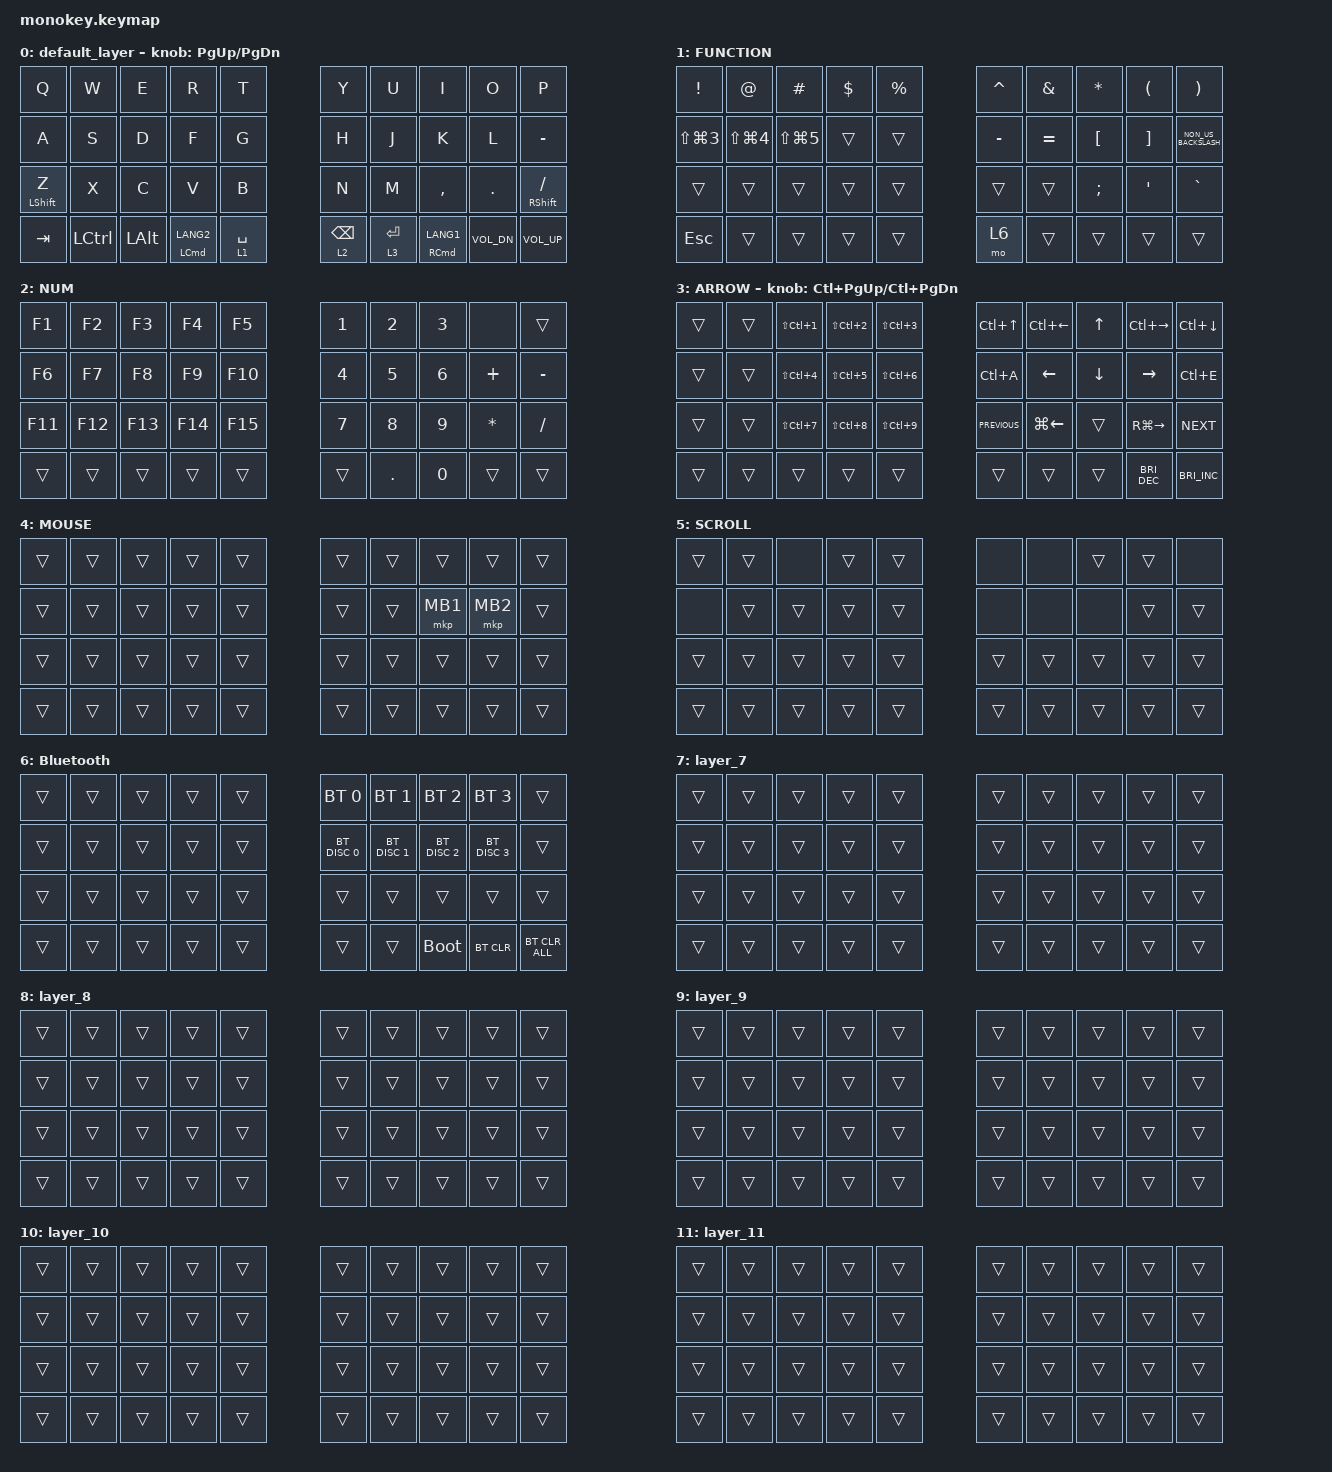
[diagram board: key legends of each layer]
#include <behaviors.dtsi>
#include <dt-bindings/zmk/bt.h>
#include <dt-bindings/zmk/keys.h>
#include <dt-bindings/zmk/pointing.h>

#include <input/processors.dtsi>
#include <input/processors/runtime-input-processor.dtsi>

#define MOUSE 4
#define SCROLL 5
#define NUM 6

&mt {
    flavor = "balanced";
    quick-tap-ms = <300>;
};

&lt { quick-tap-ms = <300>; };

/ {
    combos {
        compatible = "zmk,combos";

        scroll {
            bindings = <&mo 5>;
            key-positions = <17 18>;
        };

        mb3 {
            bindings = <&mkp MB3>;
            key-positions = <19 18>;
        };
    };

    behaviors {
        right_click: right_click_behavior {
            compatible = "zmk,behavior-mouse-key";
            label = "RIGHT_CLICK";
            #binding-cells = <0>;

            // 右クリックは通常 MB2 に対応（ZMKの標準定義）

            bindings = <&mkp MB2>;
        };
    };

    keymap {
        compatible = "zmk,keymap";

        default_layer {
            bindings = <
&kp Q             &kp W      &kp E         &kp R                   &kp T                           &kp Y        &kp U                    &kp I      &kp O         &kp P
&kp A             &kp S      &kp D         &kp F                   &kp G                           &kp H        &kp J                    &kp K      &kp L         &kp MINUS
&mt LEFT_SHIFT Z  &kp X      &kp C         &kp V                   &kp B                           &kp N        &kp M                    &kp COMMA  &kp PERIOD    &mt RIGHT_SHIFT SLASH
&kp TAB           &kp LCTRL  &kp LEFT_ALT  &mt LEFT_COMMAND LANG2  &lt 1 SPACE  &lt 2 BACKSPACE    &lt 3 ENTER  &mt RIGHT_COMMAND LANG1             &kp C_VOL_DN  &kp C_VOLUME_UP
            >;

            sensor-bindings = <&inc_dec_kp PG_UP PAGE_DOWN>;
        };

        FUNCTION {
            bindings = <
&kp EXCLAMATION       &kp AT_SIGN           &kp HASH        &kp DOLLAR  &kp PERCENT           &kp CARET  &kp AMPERSAND  &kp ASTERISK      &kp LEFT_PARENTHESIS  &kp RIGHT_PARENTHESIS
&kp LS(LG(NUMBER_3))  &kp LS(LG(NUMBER_4))  &kp LS(LG(N5))  &trans      &trans                &kp MINUS  &kp EQUAL      &kp LEFT_BRACKET  &kp RIGHT_BRACKET     &kp NON_US_BACKSLASH
&trans                &trans                &trans          &trans      &trans                &trans     &trans         &kp SEMICOLON     &kp SINGLE_QUOTE      &kp GRAVE
&kp ESCAPE            &trans                &trans          &trans      &trans       &mo 6    &trans     &trans                           &trans                &trans
            >;
        };

        NUM {
            bindings = <
&kp F1   &kp F2   &kp F3   &kp F4   &kp F5             &kp NUMBER_1  &kp NUMBER_2  &kp NUMBER_3  &none         &trans
&kp F6   &kp F7   &kp F8   &kp F9   &kp F10            &kp NUMBER_4  &kp N5        &kp NUMBER_6  &kp PLUS      &kp MINUS
&kp F11  &kp F12  &kp F13  &kp F14  &kp F15            &kp N7        &kp N8        &kp N9        &kp ASTERISK  &kp SLASH
&trans   &trans   &trans   &trans   &trans   &trans    &kp PERIOD    &kp N0                      &trans        &trans
            >;
        };

        ARROW {
            bindings = <
&trans  &trans  &kp LS(LC(NUMBER_1))  &kp LS(LC(NUMBER_2))  &kp LS(LC(NUMBER_3))            &kp LC(UP_ARROW)  &kp LC(LEFT_ARROW)  &kp UP_ARROW    &kp LC(RIGHT)    &kp LC(DOWN_ARROW)
&trans  &trans  &kp LS(LC(NUMBER_4))  &kp LS(LC(N5))        &kp LS(LC(NUMBER_6))            &kp LC(A)         &kp LEFT_ARROW      &kp DOWN_ARROW  &kp RIGHT_ARROW  &kp LC(E)
&trans  &trans  &kp LS(LC(N7))        &kp LS(LC(N8))        &kp LS(LC(N9))                  &kp C_PREVIOUS    &kp LG(LEFT)        &trans          &kp RG(RIGHT)    &kp C_NEXT
&trans  &trans  &trans                &trans                &trans                &trans    &trans            &trans                              &kp C_BRI_DEC    &kp C_BRI_INC
            >;

            sensor-bindings = <&inc_dec_kp LC(PAGE_UP) LC(PAGE_DOWN)>;
        };

        MOUSE {
            bindings = <
&trans  &trans  &trans  &trans  &trans            &trans  &trans  &trans    &trans    &trans
&trans  &trans  &trans  &trans  &trans            &trans  &trans  &mkp MB1  &mkp MB2  &trans
&trans  &trans  &trans  &trans  &trans            &trans  &trans  &trans    &trans    &trans
&trans  &trans  &trans  &trans  &trans  &trans    &trans  &trans            &trans    &trans
            >;
        };

        SCROLL {
            bindings = <
&trans  &trans  &none   &trans  &trans            &none   &none   &trans  &trans  &none
&none   &trans  &trans  &trans  &trans            &none   &none   &none   &trans  &trans
&trans  &trans  &trans  &trans  &trans            &trans  &trans  &trans  &trans  &trans
&trans  &trans  &trans  &trans  &trans  &trans    &trans  &trans          &trans  &trans
            >;
        };

        Bluetooth {
            bindings = <
&trans  &trans  &trans  &trans  &trans            &bt BT_SEL 0   &bt BT_SEL 1   &bt BT_SEL 2   &bt BT_SEL 3   &trans
&trans  &trans  &trans  &trans  &trans            &bt BT_DISC 0  &bt BT_DISC 1  &bt BT_DISC 2  &bt BT_DISC 3  &trans
&trans  &trans  &trans  &trans  &trans            &trans         &trans         &trans         &trans         &trans
&trans  &trans  &trans  &trans  &trans  &trans    &trans         &bootloader                   &bt BT_CLR     &bt BT_CLR_ALL
            >;
        };

        layer_7 {
            bindings = <
&trans  &trans  &trans  &trans  &trans            &trans  &trans  &trans  &trans  &trans
&trans  &trans  &trans  &trans  &trans            &trans  &trans  &trans  &trans  &trans
&trans  &trans  &trans  &trans  &trans            &trans  &trans  &trans  &trans  &trans
&trans  &trans  &trans  &trans  &trans  &trans    &trans  &trans          &trans  &trans
            >;
        };

        layer_8 {
            bindings = <
&trans  &trans  &trans  &trans  &trans            &trans  &trans  &trans  &trans  &trans
&trans  &trans  &trans  &trans  &trans            &trans  &trans  &trans  &trans  &trans
&trans  &trans  &trans  &trans  &trans            &trans  &trans  &trans  &trans  &trans
&trans  &trans  &trans  &trans  &trans  &trans    &trans  &trans          &trans  &trans
            >;
        };

        layer_9 {
            bindings = <
&trans  &trans  &trans  &trans  &trans            &trans  &trans  &trans  &trans  &trans
&trans  &trans  &trans  &trans  &trans            &trans  &trans  &trans  &trans  &trans
&trans  &trans  &trans  &trans  &trans            &trans  &trans  &trans  &trans  &trans
&trans  &trans  &trans  &trans  &trans  &trans    &trans  &trans          &trans  &trans
            >;
        };

        layer_10 {
            bindings = <
&trans  &trans  &trans  &trans  &trans            &trans  &trans  &trans  &trans  &trans
&trans  &trans  &trans  &trans  &trans            &trans  &trans  &trans  &trans  &trans
&trans  &trans  &trans  &trans  &trans            &trans  &trans  &trans  &trans  &trans
&trans  &trans  &trans  &trans  &trans  &trans    &trans  &trans          &trans  &trans
            >;
        };

        layer_11 {
            bindings = <
&trans  &trans  &trans  &trans  &trans            &trans  &trans  &trans  &trans  &trans
&trans  &trans  &trans  &trans  &trans            &trans  &trans  &trans  &trans  &trans
&trans  &trans  &trans  &trans  &trans            &trans  &trans  &trans  &trans  &trans
&trans  &trans  &trans  &trans  &trans  &trans    &trans  &trans          &trans  &trans
            >;
        };
    };

// Then use it in your input device configuration
    my_input_listener {
        // ... other config ...
        input-processors = <&mouse_runtime_input_processor>;

        scroller {
			// layers = <9>;
			input-processors = <&zip_xy_to_scroll_mapper &scroll_runtime_input_processor>;
		};
    };

    // For split keyboard, you can configure input processor in central
    split_input: split_input {
        compatible = "zmk,input-split"
    };
    split_listener: split_listener {
        compatible = "zmk,input-listener";
        status = <disabled>;
        device = <&split_input>;
    };

    my_rip: my_rip {
		compatible = "zmk,input-processor-runtime";
		processor-label = "custom";
		type = <INPUT_EV_REL>;
		x-codes = <INPUT_REL_X>;
		y-codes = <INPUT_REL_Y>;
		scale-multiplier = <1>;
		scale-divisor = <1>;
		rotation-degrees = <0>;
		track-remainders;

		// Optional: Temp-layer layer default settings
		temp-layer-enabled;  // Enable temp-layer by default
		temp-layer = <1>;  // Default to layer 1
		temp-layer-activation-delay-ms = <100>;  // 100ms activation delay
		temp-layer-deactivation-delay-ms = <500>;  // 500ms deactivation delay

		// Optional: Active layers configuration
		// Bitmask of layers where processor should be active (0 = all layers)
		// Each bit represents a layer: bit 0 = layer 0, bit 1 = layer 1, etc.
		// Example: active-layers = <0x00000003> activates on layers 0 and 1 only
		active-layers = <0>;  // Default: active on all layers

		// Optional: Performance optimization
		temp-layer-transparent-behavior = <&trans>;
		temp-layer-kp-behavior = <&kp>;
		temp-layer-keep-keycodes = <LEFT_CONTROL LEFT_SHIFT LEFT_ALT LEFT_GUI RIGHT_CONTROL RIGHT_SHIFT RIGHT_ALT RIGHT_GUI>;

		#input-processor-cells = <0>;
	};


};

// <central>.overlay
&split_listener {
    status = "okay";
    input-processors = <&my_rip>;
};
